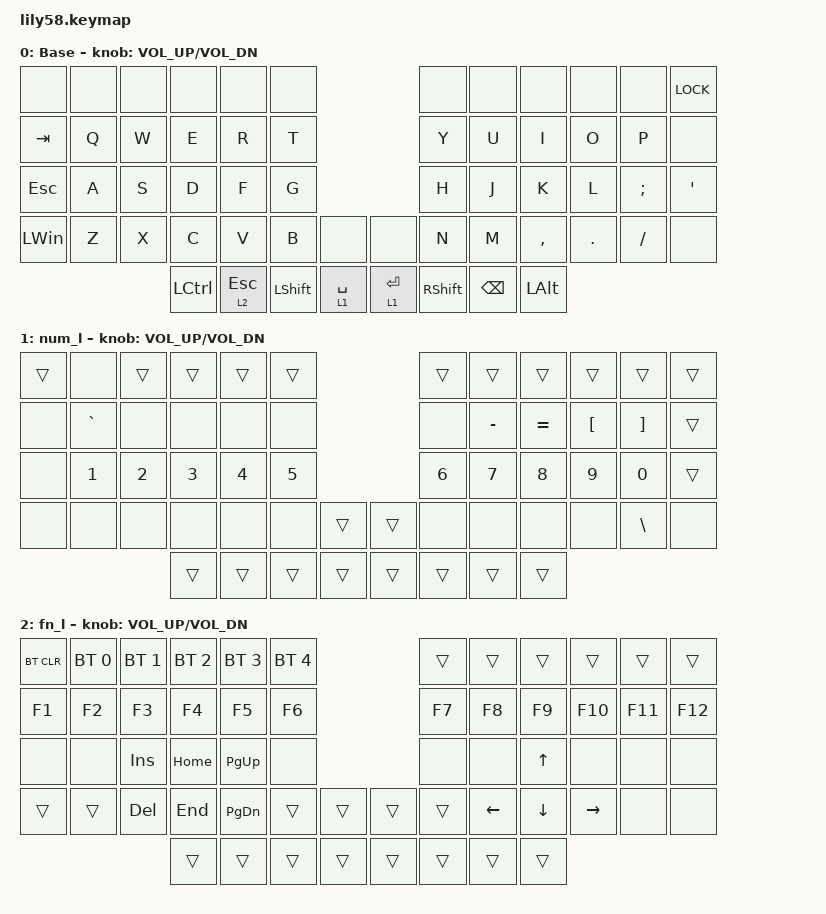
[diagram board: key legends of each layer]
/*
 * Copyright (c) 2020 The ZMK Contributors
 *
 * SPDX-License-Identifier: MIT
 */

#include <behaviors.dtsi>
#include <dt-bindings/zmk/bt.h>
#include <dt-bindings/zmk/keys.h>

/ {
    keymap {
        compatible = "zmk,keymap";

        default_layer {
            // ------------------------------------------------------------------------------------------------------------
            // |  ESC  |  1  |  2  |  3   |  4   |  5   |                   |  6   |  7    |  8    |  9   |   0   |   `   |
            // |  TAB  |  Q  |  W  |  E   |  R   |  T   |                   |  Y   |  U    |  I    |  O   |   P   |   -   |
            // |  CTRL |  A  |  S  |  D   |  F   |  G   |                   |  H   |  J    |  K    |  L   |   ;   |   '   |
            // | SHIFT |  Z  |  X  |  C   |  V   |  B   |   "["  |  |  "]"  |  N   |  M    |  ,    |  .   |   /   | SHIFT |
            //                     | ALT  | GUI  | LOWER|  SPACE |  | ENTER | RAISE| BSPC  | GUI   |

            display-name = "Base";
            bindings = <
&none         &none  &none  &none      &none         &none                                       &none            &none     &none         &none    &none     &kp K_LOCK
&kp TAB       &kp Q  &kp W  &kp E      &kp R         &kp T                                       &kp Y            &kp U     &kp I         &kp O    &kp P     &none
&kp ESCAPE    &kp A  &kp S  &kp D      &kp F         &kp G                                       &kp H            &kp J     &kp K         &kp L    &kp SEMI  &kp SQT
&kp LEFT_WIN  &kp Z  &kp X  &kp C      &kp V         &kp B           &none          &none        &kp N            &kp M     &kp COMMA     &kp DOT  &kp FSLH  &none
                            &kp LCTRL  &lt 2 ESCAPE  &kp LEFT_SHIFT  &lt 1 SPACE    &lt 1 ENTER  &kp RIGHT_SHIFT  &kp BSPC  &kp LEFT_ALT
            >;

            sensor-bindings = <&inc_dec_kp C_VOL_UP C_VOL_DN>;
        };

        num_layer {
            // ------------------------------------------------------------------------------------------------------------
            // |       |     |     |      |      |      |                   |      |       |       |      |       |       |
            // |   `   |  1  |  2  |  3   |  4   |  5   |                   |  6   |   7   |   8   |  9   |   0   |       |
            // |   F1  |  F2 |  F3 |  F4  |  F5  |  F6  |                   |      |   <-  |   v   |  ^   |  ->   |       |
            // |   F7  |  F8 |  F9 |  F10 |  F11 |  F12 |        |  |       |  +   |   -   |   =   |  [   |   ]   |   \   |
            //                     |      |      |      |        |  |       |      |       |       |

            display-name = "num_l";
            bindings = <
&trans  &none         &trans        &trans        &trans        &trans                    &trans        &trans     &trans     &trans            &trans             &trans
&none   &kp GRAVE     &none         &none         &none         &none                     &none         &kp MINUS  &kp EQUAL  &kp LEFT_BRACKET  &kp RIGHT_BRACKET  &trans
&none   &kp NUMBER_1  &kp NUMBER_2  &kp NUMBER_3  &kp NUMBER_4  &kp N5                    &kp NUMBER_6  &kp N7     &kp N8     &kp N9            &kp N0             &trans
&none   &none         &none         &none         &none         &none   &trans    &trans  &none         &none      &none      &none             &kp BACKSLASH      &none
                                    &trans        &trans        &trans  &trans    &trans  &trans        &trans     &trans
            >;

            sensor-bindings = <&inc_dec_kp C_VOL_UP C_VOL_DN>;
        };

        fn_layer {
            // ------------------------------------------------------------------------------------------------------------
            // | BTCLR | BT1 | BT2 |  BT3 |  BT4 |  BT5 |                   |      |       |       |      |       |       |
            // |  F1   |  F2 |  F3 |  F4  |  F5  |  F6  |                   |  F7  |  F8   |  F9   |  F10 |  F11  |  F12  |
            // |   `   |  !  |  @  |  #   |  $   |  %   |                   |  ^   |  &    |  *    |  (   |   )   |   ~   |
            // |       |     |     |      |      |      |        |  |       |      |  _    |  +    |  {   |   }   |  "|"  |
            //                     |      |      |      |        |  |       |      |       |       |

            display-name = "fn_l";
            bindings = <
&bt BT_CLR  &bt BT_SEL 0  &bt BT_SEL 1  &bt BT_SEL 2  &bt BT_SEL 3   &bt BT_SEL 4                    &trans  &trans          &trans          &trans           &trans   &trans
&kp F1      &kp F2        &kp F3        &kp F4        &kp F5         &kp F6                          &kp F7  &kp F8          &kp F9          &kp F10          &kp F11  &kp F12
&none       &none         &kp INS       &kp HOME      &kp PAGE_UP    &none                           &none   &none           &kp UP_ARROW    &none            &none    &none
&trans      &trans        &kp DEL       &kp END       &kp PAGE_DOWN  &trans        &trans    &trans  &trans  &kp LEFT_ARROW  &kp DOWN_ARROW  &kp RIGHT_ARROW  &none    &none
                                        &trans        &trans         &trans        &trans    &trans  &trans  &trans          &trans
            >;

            sensor-bindings = <&inc_dec_kp C_VOL_UP C_VOL_DN>;
        };
    };
};
